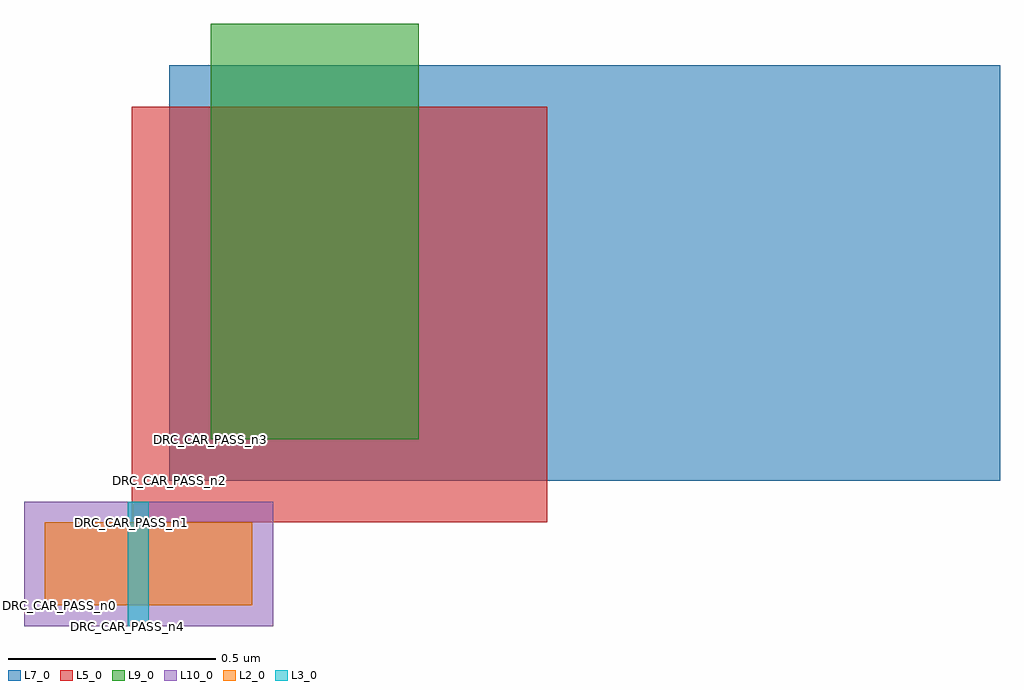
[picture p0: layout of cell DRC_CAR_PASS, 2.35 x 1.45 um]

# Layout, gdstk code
import gdstk
lib = gdstk.Library(unit=1e-6, precision=1e-09)
def R(c, l, rs):  # rectangles x0, y0, x1, y1
    for r in rs: c.add(gdstk.rectangle(r[:2], r[2:], *l))
L2_0 = (2, 0)
L3_0 = (3, 0)
L5_0 = (5, 0)
L7_0 = (7, 0)
L9_0 = (9, 0)
L10_0 = (10, 0)

drc_car_pass = lib.new_cell('DRC_CAR_PASS')
R(drc_car_pass, L2_0, [(0,0,0.5,0.2)])
R(drc_car_pass, L3_0, [(0.2,-0.05,0.25,0.25)])
R(drc_car_pass, L5_0, [(0.21,0.2,1.21,1.2)])
R(drc_car_pass, L7_0, [(0.3,0.3,2.3,1.3)])
R(drc_car_pass, L9_0, [(0.4,0.4,0.9,1.4)])
R(drc_car_pass, L10_0, [(-0.05,-0.05,0.55,0.25)])
drc_car_pass.add(gdstk.Label('DRC_CAR_PASS_n0', (0,0), layer=2, texttype=5))
drc_car_pass.add(gdstk.Label('DRC_CAR_PASS_n1', (0.21,0.2), layer=5, texttype=5))
drc_car_pass.add(gdstk.Label('DRC_CAR_PASS_n2', (0.3,0.3), layer=7, texttype=5))
drc_car_pass.add(gdstk.Label('DRC_CAR_PASS_n3', (0.4,0.4), layer=9, texttype=5))
drc_car_pass.add(gdstk.Label('DRC_CAR_PASS_n4', (0.2,-0.05), layer=3, texttype=5))

lib.write_gds('DRC_CAR_PASS.gds')
